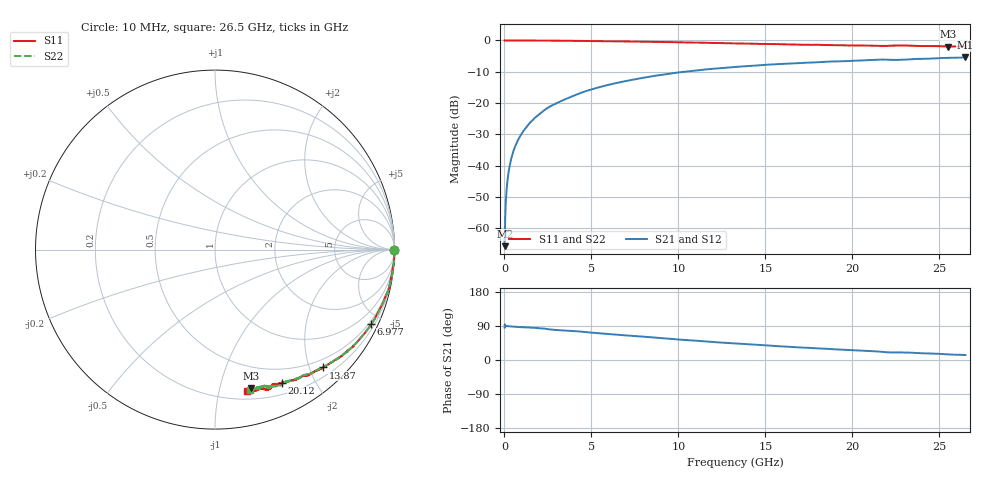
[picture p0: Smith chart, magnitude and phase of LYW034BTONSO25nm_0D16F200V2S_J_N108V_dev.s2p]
!Keysight Technologies,N5222B,MY61253708,A.15.00.15
!Date: Wednesday, June 19, 2024 09:42:54
!Correction: S11(C  2-Port  )
!S21(C  2-Port  )
!S12(C  2-Port  )
!S22(C  2-Port  )
!S2P File: Measurements: S11, S21, S12, S22:
# Hz S  RI  R 50
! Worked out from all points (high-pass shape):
!   2651 points, 10 MHz to 26.5 GHz, reference 50 ohm
!   highest |S21| = -5.39 dB at 26.5 GHz (marker M1); lowest = -65.7 dB at 20 MHz (marker M2)
!   |S21| within 3 dB of the highest: 13.45 GHz to end of sweep
!   lowest |S11| = -2.0 dB at 25.5 GHz (marker M3), VSWR 8.86, Z = 14.8 - j62.5 ohm
!   |S11| at or under -10 dB: nowhere
!   |S22| runs from -1.9 to 0.0 dB; largest |S21 - S12| = 0.0066
!   S11 on the Smith chart (normalised r, x): 10 MHz: open; 6.977 GHz: 0.37, -4.38; 13.87 GHz: 0.35, -2.23; 20.12 GHz: 0.33, -1.57; 26.5 GHz: 0.27, -1.22
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1e7  0.9987 -0.00243  5.06e-05 0.000659  4.98e-05 0.000345  0.9985 -0.0015
1.999623e7  0.9987 -0.00257  -3.64e-05 0.000517  -3.33e-06 0.00058  0.999 -0.00288
8.996981e7  0.9999 -0.0059  -5.16e-06 0.00297  6.47e-06 0.00301  0.9995 -0.00554
1.599434e8  0.9999 -0.0114  6.23e-05 0.0053  6.22e-05 0.00534  0.9996 -0.0108
2.099245e8  0.9998 -0.0142  0.000132 0.00696  0.000106 0.00701  0.9994 -0.0137
2.699019e8  0.9999 -0.0185  0.000157 0.0089  9.93e-05 0.00903  0.9998 -0.0177
3.798604e8  0.9996 -0.0262  0.000341 0.0125  0.000305 0.0127  0.9992 -0.0254
5.098113e8  0.999 -0.0342  0.0006 0.0168  0.000609 0.017  0.9994 -0.0336
8.696755e8  0.998 -0.058  0.00163 0.0286  0.00162 0.0288  0.9973 -0.0576
1.479445e9  0.9905 -0.0994  0.0039 0.0489  0.00395 0.0492  0.9933 -0.0962
2.359113e9  0.9818 -0.1537  0.0104 0.0788  0.0106 0.0794  0.9829 -0.1542
3.228785e9  0.9699 -0.2093  0.0213 0.1046  0.0217 0.1054  0.9709 -0.2071
4.428332e9  0.9425 -0.2807  0.0386 0.1417  0.039 0.1427  0.9437 -0.2785
6.97737e9  0.8699 -0.4164  0.0953 0.2033  0.0966 0.2043  0.8699 -0.4176
8.846664e9  0.8026 -0.5022  0.1453 0.2367  0.1471 0.2374  0.8031 -0.5015
1.3255e10  0.6265 -0.6422  0.2727 0.2606  0.2753 0.2603  0.6287 -0.6411
1.387477e10  0.6028 -0.6568  0.2886 0.2592  0.2913 0.258  0.6018 -0.6556
1.767333e10  0.4546 -0.7213  0.3788 0.2327  0.3824 0.2308  0.4632 -0.7187
2.012241e10  0.3713 -0.741  0.4268 0.2063  0.4303 0.2039  0.3845 -0.7418
2.209166e10  0.3191 -0.7539  0.4613 0.1704  0.4631 0.1672  0.3115 -0.7592
2.550038e10  0.2004 -0.7717  0.5103 0.1339  0.5117 0.1331  0.2194 -0.7735
2.65e10  0.181 -0.7858  0.5237 0.1226  0.5232 0.1185  0.193 -0.7831
